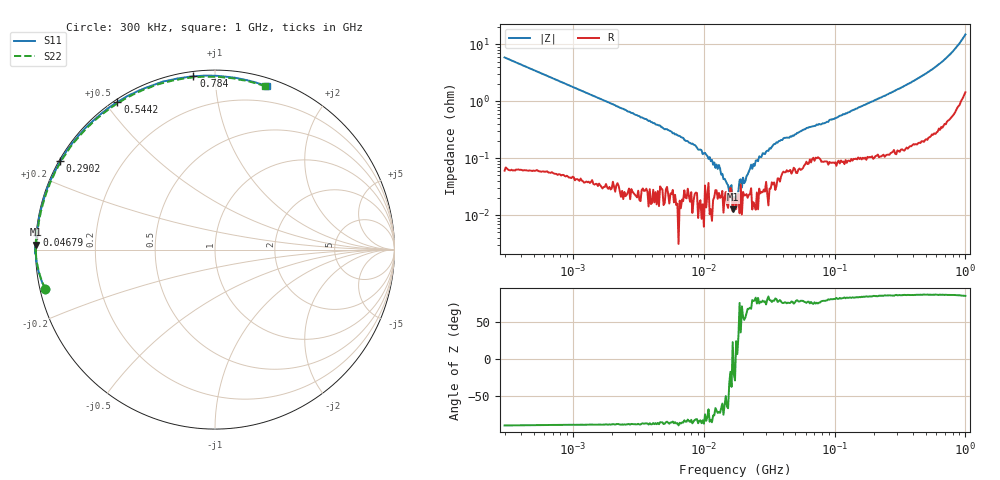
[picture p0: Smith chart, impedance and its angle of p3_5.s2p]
#  HZ  S  RI  R  50
! Rohde & Schwarz ZVA/B
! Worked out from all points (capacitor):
!   401 points, 300 kHz to 1 GHz, reference 50 ohm
!   read as one part in shunt: C = 89.9 nF near 312.4 kHz
!   lowest |Z| = 12.6 mohm at 16.63 MHz (marker M1)
!   series resonance near 16.57 MHz, so ESL is about 1 nH
!   S11 on the Smith chart (normalised r, x): 300 kHz: 0.01, -0.11; 46.79 MHz: 0.00, +0.04; 290.2 MHz: 0.00, +0.27; 544.2 MHz: 0.01, +0.54; 784 MHz: 0.02, +0.88; 1 GHz: 0.07, +1.37
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300000  -0.9466 -0.2198  0.0542 -0.2226  0.0547 -0.2234  -0.9445 -0.2201
1167356  -0.9955 -0.0581  0.00517 -0.0607  0.00519 -0.0605  -0.9946 -0.0583
4542403  -0.999 -0.00733  0.000677 -0.015  0.000624 -0.0149  -0.9981 -0.00613
1.064604e7  -0.9965 0.0147  0.000841 -0.00432  0.000139 -0.00432  -0.9974 0.0128
1.35792e7  -0.9996 0.0213  0.000795 -0.0019  0.000964 -0.00223  -0.9972 0.0194
1.533619e7  -0.9998 0.0254  0.000505 -0.00124  0.000706 -0.000789  -0.9973 0.0237
1.663207e7  -0.9967 0.0274  0.000471 0.000179  0.001 -0.00067  -0.9966 0.0262
1.732051e7  -0.9993 0.0299  0.000704 -0.000418  0.000766 0.00029  -0.9973 0.028
1.767534e7  -0.9982 0.0298  0.000519 0.00021  0.00119 0.000231  -0.9971 0.0287
1.916887e7  -0.9984 0.0332  0.00142 0.000943  0.000713 0.00115  -0.9972 0.0323
2.037127e7  -0.999 0.0338  0.000929 0.00112  0.000605 0.000939  -0.9978 0.0355
2.395939e7  -0.9978 0.0416  0.0008 0.00307  0.00121 0.0028  -0.997 0.0406
2.598391e7  -0.9969 0.0451  0.000665 0.00348  0.00102 0.00338  -0.9977 0.0462
3.594345e7  -0.9955 0.0661  0.00179 0.00739  0.00194 0.00689  -0.9951 0.0655
4.678572e7  -0.9938 0.0837  0.00291 0.00903  0.00334 0.0094  -0.9926 0.0843
6.739735e7  -0.9879 0.1221  0.0055 0.0132  0.00561 0.013  -0.9867 0.1223
1.456519e8  -0.9611 0.2568  0.0111 0.0268  0.011 0.0273  -0.9586 0.2551
2.622557e8  -0.8852 0.4497  0.0271 0.0441  0.0271 0.0437  -0.8825 0.4451
2.902425e8  -0.862 0.493  0.0319 0.0471  0.0326 0.047  -0.858 0.489
5.44232e8  -0.5435 0.8222  0.0931 0.0538  0.0932 0.0538  -0.5451 0.8131
7.839956e8  -0.1199 0.9651  0.1553 0.0111  0.1559 0.0104  -0.1298 0.9584
1e9  0.2908 0.9098  0.185 -0.0698  0.1859 -0.0695  0.2775 0.9107
